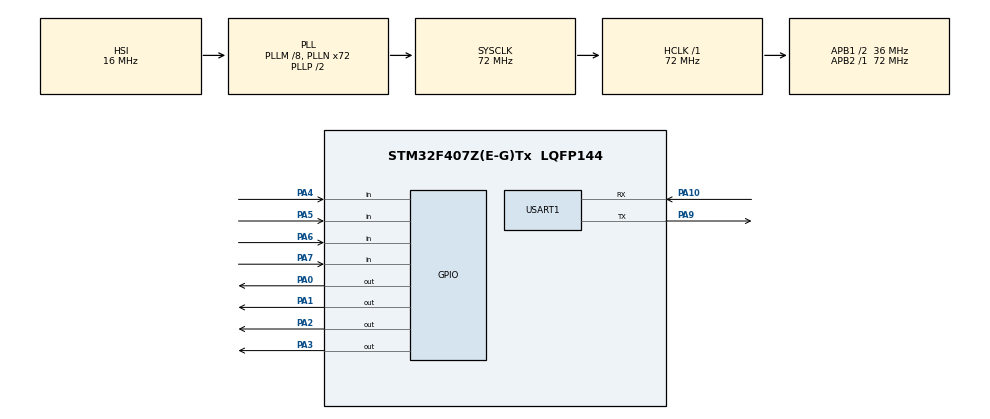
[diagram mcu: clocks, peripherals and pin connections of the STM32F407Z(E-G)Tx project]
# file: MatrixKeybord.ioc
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Mcu.Family=STM32F4
Mcu.Name=STM32F407Z(E-G)Tx
Mcu.Package=LQFP144
NVIC.PriorityGroup=NVIC_PRIORITYGROUP_4
PA0-WKUP.PinState=GPIO_PIN_RESET
PA0-WKUP.Signal=GPIO_Output
PA1.PinState=GPIO_PIN_RESET
PA1.Signal=GPIO_Output
PA10.Mode=Asynchronous
PA10.Signal=USART1_RX
PA13.Mode=Serial_Wire
PA13.Signal=SYS_JTMS-SWDIO
PA14.Mode=Serial_Wire
PA14.Signal=SYS_JTCK-SWCLK
PA2.PinState=GPIO_PIN_RESET
PA2.Signal=GPIO_Output
PA3.PinState=GPIO_PIN_RESET
PA3.Signal=GPIO_Output
PA4.GPIO_PuPd=GPIO_PULLUP
PA4.Signal=GPIO_Input
PA5.GPIO_PuPd=GPIO_PULLUP
PA5.Signal=GPIO_Input
PA6.GPIO_PuPd=GPIO_PULLUP
PA6.Signal=GPIO_Input
PA7.GPIO_PuPd=GPIO_PULLUP
PA7.Signal=GPIO_Input
PA9.Mode=Asynchronous
PA9.Signal=USART1_TX
PH0-OSC_IN.Mode=HSE-External-Oscillator
PH0-OSC_IN.Signal=RCC_OSC_IN
PH1-OSC_OUT.Mode=HSE-External-Oscillator
PH1-OSC_OUT.Signal=RCC_OSC_OUT
ProjectManager.HeapSize=0x200
ProjectManager.StackSize=0x400
ProjectManager.TargetToolchain=MDK-ARM V5.32
RCC.48MHZClocksFreq_Value=36000000
RCC.AHBFreq_Value=72000000
RCC.APB1CLKDivider=RCC_HCLK_DIV2
RCC.APB1Freq_Value=36000000
RCC.APB1TimFreq_Value=72000000
RCC.APB2Freq_Value=72000000
RCC.APB2TimFreq_Value=72000000
RCC.CortexFreq_Value=72000000
RCC.HCLKFreq_Value=72000000
RCC.HSE_VALUE=25000000
RCC.HSI_VALUE=16000000
RCC.LSE_VALUE=32768
RCC.PLLM=8
RCC.PLLN=72
RCC.SYSCLKFreq_VALUE=72000000
RCC.SYSCLKSource=RCC_SYSCLKSOURCE_PLLCLK
RCC.VCOOutputFreq_Value=144000000
USART1.VirtualMode=VM_ASYNC
board=custom

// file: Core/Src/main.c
/* USER CODE BEGIN Header */
/**
  ******************************************************************************
  * @file           : main.c
  * @brief          : Main program body
  ******************************************************************************
  * @attention
  *
  * Copyright (c) 2024 STMicroelectronics.
  * All rights reserved.
  *
  * This software is licensed under terms that can be found in the LICENSE file
  * in the root directory of this software component.
  * If no LICENSE file comes with this software, it is provided AS-IS.
  *
  ******************************************************************************
  */
/* USER CODE END Header */
#include "main.h"
#include "usart.h"
#include "gpio.h"

/* USER CODE BEGIN Includes */
#include <stdio.h>
#include "key.h"
/* USER CODE END Includes */

/* USER CODE BEGIN PM */
float get_max_temperature(){
	uint8_t key = get_each_key();
	float sum = 0.0;
	float point = 1.0;
    if(key == 251){
	    while(1){
			uint8_t pre_key = key;
			key = get_each_key();
			if(key == 249)break;
			if (key <= 9 && key != pre_key){sum = ((sum*10.0)+key)/point;printf("sum = %d\r\n",sum);}
			if (key == 254 && key != pre_key) {point = 10.0;}
			HAL_Delay(5);
		}
	}
	if(sum)return sum;
	else return 255;
}
/* USER CODE END PM */

/* USER CODE BEGIN PV */
int fputc(int ch,FILE *f)
{
    HAL_UART_Transmit(&huart1,(uint8_t *) &ch,1,HAL_MAX_DELAY);
    return ch;
}
int fgetc(FILE *f)
{
    uint8_t ch;
    HAL_UART_Receive(&huart1,(uint8_t *)&ch,1,HAL_MAX_DELAY);
    return ch;
}
/* USER CODE END PV */

void SystemClock_Config(void);

int main(void)
{

  /* MCU Configuration--------------------------------------------------------*/

  /* Reset of all peripherals, Initializes the Flash interface and the Systick. */
  HAL_Init();

  /* Configure the system clock */
  SystemClock_Config();

  /* Initialize all configured peripherals */
  MX_GPIO_Init();
  MX_USART1_UART_Init();

  /* Infinite loop */
  /* USER CODE BEGIN WHILE */
  while (1)
  {
	  float key = get_max_temperature();
	  if(key != 255)printf("final sum = %.2f\r\n", key);
	  HAL_Delay(50);
    /* USER CODE END WHILE */

  }
}

void SystemClock_Config(void)
{
  RCC_OscInitTypeDef RCC_OscInitStruct = {0};
  RCC_ClkInitTypeDef RCC_ClkInitStruct = {0};

  /** Configure the main internal regulator output voltage
  */
  __HAL_RCC_PWR_CLK_ENABLE();
  __HAL_PWR_VOLTAGESCALING_CONFIG(PWR_REGULATOR_VOLTAGE_SCALE1);

  /** Initializes the RCC Oscillators according to the specified parameters
  * in the RCC_OscInitTypeDef structure.
  */
  RCC_OscInitStruct.OscillatorType = RCC_OSCILLATORTYPE_HSI;
  RCC_OscInitStruct.HSIState = RCC_HSI_ON;
  RCC_OscInitStruct.HSICalibrationValue = RCC_HSICALIBRATION_DEFAULT;
  RCC_OscInitStruct.PLL.PLLState = RCC_PLL_ON;
  RCC_OscInitStruct.PLL.PLLSource = RCC_PLLSOURCE_HSI;
  RCC_OscInitStruct.PLL.PLLM = 8;
  RCC_OscInitStruct.PLL.PLLN = 72;
  RCC_OscInitStruct.PLL.PLLP = RCC_PLLP_DIV2;
  RCC_OscInitStruct.PLL.PLLQ = 4;
  if (HAL_RCC_OscConfig(&RCC_OscInitStruct) != HAL_OK)
  {
    Error_Handler();
  }

  /** Initializes the CPU, AHB and APB buses clocks
  */
  RCC_ClkInitStruct.ClockType = RCC_CLOCKTYPE_HCLK|RCC_CLOCKTYPE_SYSCLK
                              |RCC_CLOCKTYPE_PCLK1|RCC_CLOCKTYPE_PCLK2;
  RCC_ClkInitStruct.SYSCLKSource = RCC_SYSCLKSOURCE_PLLCLK;
  RCC_ClkInitStruct.AHBCLKDivider = RCC_SYSCLK_DIV1;
  RCC_ClkInitStruct.APB1CLKDivider = RCC_HCLK_DIV2;
  RCC_ClkInitStruct.APB2CLKDivider = RCC_HCLK_DIV1;

  if (HAL_RCC_ClockConfig(&RCC_ClkInitStruct, FLASH_LATENCY_2) != HAL_OK)
  {
    Error_Handler();
  }
}

void Error_Handler(void)
{
  __disable_irq();
  while (1)
  {
  }
}
